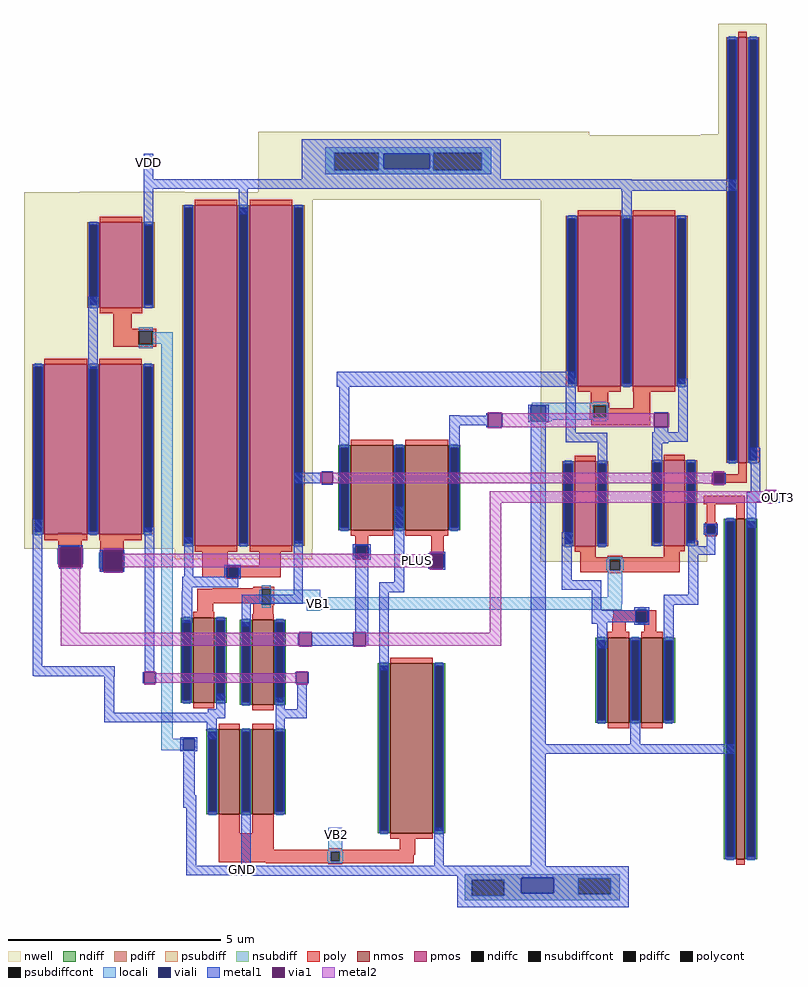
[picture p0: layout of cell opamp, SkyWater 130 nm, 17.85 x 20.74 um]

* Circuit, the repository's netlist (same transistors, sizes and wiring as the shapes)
* SPICE3 file created from opamp.ext - technology: sky130A

*.subckt opamp VDD VB1 GND VB2 PLUS OUT3
X0 m1_n150_n584# a_106_n270# a_2523_355# VSUBS sky130_fd_pr__nfet_01v8 ad=0.58 pd=4.58 as=0.58 ps=4.58 w=2 l=0.5
X1 m1_n666_n548# a_106_n270# a_130_n86# VSUBS sky130_fd_pr__nfet_01v8 ad=1.16 pd=9.16 as=0.58 ps=4.58 w=2 l=0.5
X2 a_2484_258# a_2056_n354# GND VSUBS sky130_fd_pr__nfet_01v8 ad=0.58 pd=4.58 as=0.29 ps=2.29 w=2 l=0.5
X3 GND a_2056_n354# a_2056_n354# VSUBS sky130_fd_pr__nfet_01v8 ad=0.29 pd=2.29 as=0.58 ps=4.58 w=2 l=0.5
X4 a_2484_258# a_106_n270# m1_1290_528# w_1718_n12# sky130_fd_pr__pfet_01v8 ad=0.58 pd=4.58 as=0.58 ps=4.58 w=2 l=0.5
X5 m1_n150_n584# VB2 GND VSUBS sky130_fd_pr__nfet_01v8 ad=1.16 pd=9.16 as=4.64 ps=34.32 w=2 l=0.5
X6 GND VB2 m1_n666_n548# VSUBS sky130_fd_pr__nfet_01v8 ad=0 pd=0 as=0 ps=0 w=2 l=0.5
X7 m1_762_809# a_106_n270# a_2056_n354# w_1718_n12# sky130_fd_pr__pfet_01v8 ad=1.74 pd=13.16 as=0.58 ps=4.58 w=2 l=0.5
X8 OUT3 a_2523_355# VDD w_1718_n12# sky130_fd_pr__pfet_01v8 ad=2.9 pd=20.58 as=2.9 ps=20.58 w=10 l=0.2
X9 m1_960_n522# OUT3 m1_762_809# VSUBS sky130_fd_pr__nfet_01v8 ad=0.29 pd=2.29 as=0.58 ps=4.58 w=2 l=1
X10 m1_1290_528# PLUS m1_960_n522# VSUBS sky130_fd_pr__nfet_01v8 ad=0.58 pd=4.58 as=0.29 ps=2.29 w=2 l=1
X11 OUT3 a_2484_258# GND VSUBS sky130_fd_pr__nfet_01v8 ad=2.32 pd=16.58 as=2.32 ps=16.58 w=8 l=0.2
X12 a_2523_355# a_130_n86# VDD w_n708_50# sky130_fd_pr__pfet_01v8 ad=2.32 pd=16.58 as=1.16 ps=8.29 w=8 l=1
X13 VDD a_130_n86# a_130_n86# w_n708_50# sky130_fd_pr__pfet_01v8 ad=1.16 pd=8.29 as=2.32 ps=16.58 w=8 l=1
X14 VDD GND m1_n406_894# w_n708_50# sky130_fd_pr__pfet_01v8 ad=0.58 pd=4.58 as=0.58 ps=4.58 w=2 l=1
X15 GND VB2 m1_960_n522# VSUBS sky130_fd_pr__nfet_01v8 ad=1.16 pd=8.58 as=1.16 ps=8.58 w=4 l=1
X16 m1_n406_894# OUT3 m1_n666_n548# w_n708_50# sky130_fd_pr__pfet_01v8 ad=0.58 pd=4.29 as=1.16 ps=8.58 w=4 l=1
X17 m1_n150_n584# PLUS m1_n406_894# w_n708_50# sky130_fd_pr__pfet_01v8 ad=1.16 pd=8.58 as=0.58 ps=4.29 w=4 l=1
X18 VDD GND m1_762_809# w_1718_n12# sky130_fd_pr__pfet_01v8 ad=6.96 pd=50.32 as=0 ps=0 w=4 l=1
X19 m1_1290_528# GND VDD w_1718_n12# sky130_fd_pr__pfet_01v8 ad=1.74 pd=13.16 as=0 ps=0 w=4 l=1
*.ends

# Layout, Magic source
magic
tech sky130A
magscale 1 2
<< nwell >>
rect 392 1992 1948 2008
rect 2472 1992 2782 1996
rect -446 1724 46 1726
rect 392 1724 2782 1992
rect -708 1688 2782 1724
rect -708 50 648 1688
rect 1720 449 2782 1688
rect 1720 448 2602 449
rect 2607 448 2782 449
rect 1720 398 2782 448
rect 1718 266 2782 398
rect 1718 116 2502 266
rect 1718 108 2484 116
rect 2488 108 2502 116
rect 1718 -12 2502 108
<< psubdiff >>
rect 1362 -1500 2090 -1480
rect 1362 -1506 1896 -1500
rect 1362 -1580 1396 -1506
rect 1548 -1574 1896 -1506
rect 2048 -1574 2090 -1500
rect 1548 -1580 2090 -1574
rect 1362 -1602 2090 -1580
<< nsubdiff >>
rect 706 1910 1486 1936
rect 706 1828 750 1910
rect 958 1908 1486 1910
rect 958 1828 1214 1908
rect 1442 1828 1486 1908
rect 706 1810 1486 1828
<< psubdiffcont >>
rect 1396 -1580 1548 -1506
rect 1896 -1574 2048 -1500
<< nsubdiffcont >>
rect 750 1828 958 1910
rect 1214 1828 1442 1908
<< poly >>
rect -288 1083 -202 1170
rect -288 1073 -87 1083
rect -288 1007 -169 1073
rect -103 1007 -87 1073
rect -288 997 -87 1007
rect 1956 796 2036 812
rect 1954 734 2036 796
rect 1950 724 2042 734
rect 1950 664 1966 724
rect 2026 710 2042 724
rect 2154 710 2234 810
rect 2026 664 2234 710
rect 1950 654 2234 664
rect 1956 630 2234 654
rect 2523 400 2589 407
rect 2648 400 2688 444
rect 2523 397 2688 400
rect 2523 363 2539 397
rect 2573 363 2688 397
rect 2523 360 2688 363
rect 2523 353 2589 360
rect 2484 258 2678 298
rect 2498 173 2538 258
rect 2638 206 2678 258
rect 2491 157 2545 173
rect -546 49 -436 124
rect -546 -22 -536 49
rect -446 -22 -436 49
rect -546 -38 -436 -22
rect -350 29 -240 104
rect -350 -42 -340 29
rect -250 -42 -240 29
rect -350 -58 -240 -42
rect 130 -26 248 62
rect 130 -32 299 -26
rect 398 -32 498 62
rect 848 54 908 122
rect 848 14 858 54
rect 898 14 908 54
rect 1204 22 1264 128
rect 2491 123 2501 157
rect 2535 123 2545 157
rect 2491 107 2545 123
rect 2296 61 2328 62
rect 848 -2 908 14
rect 1198 12 1270 22
rect 130 -42 498 -32
rect 1198 -28 1214 12
rect 1254 -28 1270 12
rect 1198 -38 1270 -28
rect 1906 9 1978 48
rect 2033 9 2103 15
rect 2296 9 2373 61
rect 1906 -1 2373 9
rect 130 -76 255 -42
rect 289 -76 498 -42
rect 1906 -51 2043 -1
rect 2093 -51 2373 -1
rect 1906 -61 2373 -51
rect 2033 -67 2103 -61
rect 130 -86 498 -76
rect 245 -92 299 -86
rect 368 -136 468 -129
rect 178 -139 468 -136
rect 178 -140 408 -139
rect 106 -206 408 -140
rect 106 -270 182 -206
rect 368 -213 408 -206
rect 452 -213 468 -139
rect 368 -216 468 -213
rect 368 -280 462 -216
rect 2060 -249 2263 -239
rect 2060 -278 2175 -249
rect 2056 -287 2175 -278
rect 2213 -287 2263 -249
rect 2056 -297 2263 -287
rect 2056 -354 2118 -297
rect 2060 -368 2118 -354
rect 2205 -365 2263 -297
rect 206 -1288 306 -1208
rect 364 -1288 464 -1204
rect 206 -1364 464 -1288
rect 1058 -1292 1122 -1288
rect 722 -1364 786 -1358
rect 1058 -1364 1130 -1292
rect 206 -1374 1130 -1364
rect 206 -1418 732 -1374
rect 776 -1388 1130 -1374
rect 776 -1418 1122 -1388
rect 206 -1424 1122 -1418
rect 428 -1428 1122 -1424
rect 722 -1434 786 -1428
<< polycont >>
rect -169 1007 -103 1073
rect 1966 664 2026 724
rect 2539 363 2573 397
rect -536 -22 -446 49
rect -340 -42 -250 29
rect 858 14 898 54
rect 2501 123 2535 157
rect 1214 -28 1254 12
rect 255 -76 289 -42
rect 2043 -51 2093 -1
rect 408 -213 452 -139
rect 2175 -287 2213 -249
rect 732 -1418 776 -1374
<< locali >>
rect 706 1910 1486 1934
rect 706 1828 750 1910
rect 958 1908 1486 1910
rect 958 1904 1214 1908
rect 958 1834 982 1904
rect 1198 1834 1214 1904
rect 958 1828 1214 1834
rect 1442 1828 1486 1908
rect 706 1808 1486 1828
rect -169 1073 -103 1089
rect -103 1013 -9 1067
rect -169 991 -103 1007
rect -552 -22 -536 49
rect -445 -22 -430 49
rect -356 -42 -340 29
rect -249 -42 -234 29
rect -63 -843 -9 1013
rect 1966 734 2026 740
rect 1676 724 2036 734
rect 1676 720 1966 724
rect 1744 664 1966 720
rect 2026 664 2036 724
rect 1744 654 2036 664
rect 1744 648 1772 654
rect 1966 648 2026 654
rect 2539 400 2573 413
rect 2539 347 2573 360
rect 2485 123 2498 157
rect 2538 123 2551 157
rect 842 14 848 54
rect 908 14 914 54
rect 1214 22 1254 28
rect 2033 -1 2103 9
rect 239 -76 245 -42
rect 299 -76 305 -42
rect 1214 -44 1254 -38
rect 2027 -51 2043 -1
rect 2093 -51 2109 -1
rect 408 -139 452 -123
rect 398 -208 408 -144
rect 452 -180 684 -144
rect 2033 -180 2103 -51
rect 452 -208 2103 -180
rect 408 -229 452 -213
rect 620 -209 2103 -208
rect 620 -238 2100 -209
rect 620 -242 684 -238
rect 2175 -239 2213 -233
rect 2175 -303 2213 -297
rect -63 -897 39 -843
rect 722 -1374 786 -1262
rect 716 -1418 732 -1374
rect 776 -1418 792 -1374
rect 722 -1428 786 -1418
rect 1362 -1496 2090 -1480
rect 1362 -1506 1628 -1496
rect 1362 -1580 1396 -1506
rect 1548 -1570 1628 -1506
rect 1780 -1500 2090 -1496
rect 1780 -1570 1896 -1500
rect 1548 -1574 1896 -1570
rect 2048 -1574 2090 -1500
rect 1548 -1580 2090 -1574
rect 1362 -1602 2090 -1580
<< viali >>
rect 982 1834 1198 1904
rect -536 49 -445 59
rect -536 -22 -446 49
rect -446 -22 -445 49
rect -340 29 -249 39
rect -536 -32 -445 -22
rect -340 -42 -250 29
rect -250 -42 -249 29
rect -340 -52 -249 -42
rect 1672 648 1744 720
rect 2536 397 2576 400
rect 2536 363 2539 397
rect 2539 363 2573 397
rect 2573 363 2576 397
rect 2536 360 2576 363
rect 2498 157 2538 160
rect 2498 123 2501 157
rect 2501 123 2535 157
rect 2535 123 2538 157
rect 2498 120 2538 123
rect 848 54 908 64
rect 848 14 858 54
rect 858 14 898 54
rect 898 14 908 54
rect 848 4 908 14
rect 1204 12 1264 22
rect 1204 -28 1214 12
rect 1214 -28 1254 12
rect 1254 -28 1264 12
rect 245 -42 299 -32
rect 1204 -38 1264 -28
rect 245 -76 255 -42
rect 255 -76 289 -42
rect 289 -76 299 -42
rect 245 -86 299 -76
rect 2165 -249 2223 -239
rect 2165 -287 2175 -249
rect 2175 -287 2213 -249
rect 2213 -287 2223 -249
rect 2165 -297 2223 -287
rect 39 -897 93 -843
rect 1628 -1570 1780 -1496
<< metal1 >>
rect 596 1904 1532 1972
rect -146 1784 -102 1904
rect 596 1834 982 1904
rect 1198 1834 1532 1904
rect 596 1784 1532 1834
rect -146 1783 2146 1784
rect -146 1740 2640 1783
rect -146 1566 -102 1740
rect 300 1620 344 1740
rect 2097 1730 2640 1740
rect 2100 1600 2146 1730
rect -406 894 -362 1232
rect 762 851 1877 880
rect 762 809 1883 851
rect 774 526 820 809
rect 1660 720 1756 726
rect 1290 674 1340 677
rect 1464 674 1470 685
rect 1290 630 1470 674
rect 1290 528 1340 630
rect 1464 620 1470 630
rect 1535 620 1541 685
rect 1660 648 1672 720
rect 1744 648 1756 720
rect 1660 642 1756 648
rect 690 408 742 414
rect 565 357 690 407
rect 690 350 742 356
rect -666 -503 -622 184
rect -548 59 -433 65
rect -548 53 -536 59
rect -445 53 -433 59
rect -548 -38 -542 53
rect -439 -38 -433 53
rect -352 39 -334 45
rect -542 -44 -439 -38
rect -352 -52 -340 39
rect -352 -58 -334 -52
rect -243 -58 -237 45
rect -666 -548 -282 -503
rect -140 -532 -96 148
rect 44 -82 88 102
rect 36 -83 88 -82
rect 233 -32 311 -26
rect 233 -83 245 -32
rect 36 -86 245 -83
rect 299 -86 311 -32
rect 36 -92 311 -86
rect 36 -132 299 -92
rect 36 -148 83 -132
rect 34 -298 83 -148
rect 558 -166 602 86
rect 836 64 920 70
rect 836 4 848 64
rect 908 4 920 64
rect 836 -2 920 4
rect 314 -210 602 -166
rect 314 -316 358 -210
rect 848 -346 908 -2
rect 1031 -109 1077 247
rect 1198 28 1270 34
rect 1192 -44 1198 28
rect 1258 22 1270 28
rect 1264 -38 1270 22
rect 1258 -44 1270 -38
rect 1198 -50 1270 -44
rect 578 -406 584 -346
rect 644 -406 838 -346
rect 898 -406 908 -346
rect 960 -155 1077 -109
rect 960 -522 1006 -155
rect -663 -549 -282 -548
rect -331 -721 -285 -549
rect -150 -584 -144 -532
rect -92 -584 -86 -532
rect 566 -584 572 -532
rect 624 -584 630 -532
rect 196 -705 238 -632
rect 155 -721 238 -705
rect -331 -747 238 -721
rect 474 -704 516 -652
rect 576 -704 620 -584
rect -331 -767 197 -747
rect 151 -805 197 -767
rect 474 -748 620 -704
rect 474 -798 516 -748
rect 27 -843 105 -837
rect 27 -897 39 -843
rect 93 -897 105 -843
rect 155 -847 197 -805
rect 27 -903 105 -897
rect 1672 -869 1744 642
rect 1837 595 1883 809
rect 2253 685 2318 691
rect 2253 597 2318 620
rect 2365 597 2411 847
rect 1837 549 2032 595
rect 1986 450 2032 549
rect 2244 551 2411 597
rect 2244 544 2318 551
rect 2244 462 2290 544
rect 2530 406 2582 412
rect 2524 354 2530 406
rect 2582 354 2588 406
rect 2530 348 2582 354
rect 2705 320 2751 523
rect 2705 319 2788 320
rect 2705 315 2772 319
rect 2686 269 2772 315
rect 2486 160 2550 166
rect 1819 -98 1865 127
rect 2486 120 2498 160
rect 2538 120 2550 160
rect 2686 148 2732 269
rect 2766 266 2772 269
rect 2825 266 2862 319
rect 2486 116 2550 120
rect 2488 114 2550 116
rect 2413 60 2459 87
rect 2498 60 2538 114
rect 2413 20 2538 60
rect 1819 -144 2004 -98
rect 1958 -239 2004 -144
rect 2413 -167 2459 20
rect 2298 -213 2459 -167
rect 2159 -239 2229 -227
rect 1958 -297 2165 -239
rect 2223 -297 2229 -239
rect 1958 -303 2031 -297
rect 1985 -419 2031 -303
rect 2159 -309 2229 -297
rect 2298 -384 2344 -213
rect 2140 -869 2186 -756
rect 39 -1110 93 -903
rect 1672 -915 2625 -869
rect 39 -1167 101 -1110
rect 55 -1439 101 -1167
rect 312 -1439 358 -1194
rect 55 -1440 358 -1439
rect 1218 -1440 1264 -1262
rect 1672 -1440 1744 -915
rect 55 -1442 1744 -1440
rect 55 -1485 2132 -1442
rect 312 -1486 2132 -1485
rect 1326 -1496 2132 -1486
rect 1326 -1570 1628 -1496
rect 1780 -1570 2132 -1496
rect 1326 -1634 2132 -1570
<< via1 >>
rect 1470 620 1535 685
rect 690 356 742 408
rect -542 -32 -536 53
rect -536 -32 -445 53
rect -445 -32 -439 53
rect -542 -38 -439 -32
rect -334 39 -243 45
rect -334 -52 -249 39
rect -249 -52 -243 39
rect -334 -58 -243 -52
rect 1198 22 1258 28
rect 1198 -38 1204 22
rect 1204 -38 1258 22
rect 1198 -44 1258 -38
rect 584 -406 644 -346
rect 838 -406 898 -346
rect -144 -584 -92 -532
rect 572 -584 624 -532
rect 2253 620 2318 685
rect 2530 400 2582 406
rect 2530 360 2536 400
rect 2536 360 2576 400
rect 2576 360 2582 400
rect 2530 354 2582 360
rect 2772 266 2825 319
<< metal2 >>
rect 1470 685 1535 691
rect 1535 620 2253 685
rect 2318 620 2324 685
rect 1470 614 1535 620
rect 684 356 690 408
rect 742 407 748 408
rect 742 405 2482 407
rect 2530 406 2582 412
rect 742 357 2530 405
rect 742 356 748 357
rect 2482 355 2530 357
rect 2530 348 2582 354
rect 2772 319 2825 325
rect 1480 266 2772 319
rect -548 -38 -542 53
rect -439 -38 -433 53
rect -334 45 -243 51
rect -535 -346 -444 -38
rect 1198 28 1258 34
rect -243 22 912 25
rect -243 -37 1198 22
rect 872 -38 1198 -37
rect 1198 -50 1258 -44
rect -334 -64 -243 -58
rect 584 -346 644 -340
rect -535 -406 584 -346
rect -535 -407 -444 -406
rect 584 -412 644 -406
rect 838 -346 898 -340
rect 1480 -346 1533 266
rect 2772 260 2825 266
rect 898 -406 1533 -346
rect 838 -412 898 -406
rect -144 -532 -92 -526
rect 572 -532 624 -526
rect -92 -580 572 -536
rect -144 -590 -92 -584
rect 572 -590 624 -584
use sky130_fd_pr__nfet_01v8_42C9PJ  sky130_fd_pr__nfet_01v8_42C9PJ_0
transform 1 0 2163 0 1 -568
box -187 -226 187 226
use sky130_fd_pr__nfet_01v8_42C9PJ  sky130_fd_pr__nfet_01v8_42C9PJ_1
transform 1 0 335 0 1 -998
box -187 -226 187 226
use sky130_fd_pr__nfet_01v8_C5U7X2  sky130_fd_pr__nfet_01v8_C5U7X2_0
transform 1 0 2658 0 1 -610
box -78 -826 78 826
use sky130_fd_pr__nfet_01v8_SAC9P4  sky130_fd_pr__nfet_01v8_SAC9P4_0
transform 1 0 414 0 1 -484
box -108 -226 108 226
use sky130_fd_pr__nfet_01v8_SAC9P4  sky130_fd_pr__nfet_01v8_SAC9P4_1
transform 1 0 136 0 1 -474
box -108 -226 108 226
use sky130_fd_pr__nfet_01v8_SLJEK5  sky130_fd_pr__nfet_01v8_SLJEK5_0
transform 1 0 1112 0 1 -888
box -158 -426 158 426
use sky130_fd_pr__nfet_01v8_VYPHSS  sky130_fd_pr__nfet_01v8_VYPHSS_0
transform 1 0 1055 0 1 336
box -287 -226 287 226
use sky130_fd_pr__pfet_01v8_7Q88LS  sky130_fd_pr__pfet_01v8_7Q88LS_0
transform 1 0 -383 0 1 516
box -323 -462 323 462
use sky130_fd_pr__pfet_01v8_7Q88LS  sky130_fd_pr__pfet_01v8_7Q88LS_1
transform 1 0 2123 0 1 1212
box -323 -462 323 462
use sky130_fd_pr__pfet_01v8_9Q4LM2  sky130_fd_pr__pfet_01v8_9Q4LM2_0
transform 1 0 -252 0 1 1382
box -194 -262 194 262
use sky130_fd_pr__pfet_01v8_EE9SH3  sky130_fd_pr__pfet_01v8_EE9SH3_0
transform 1 0 2668 0 1 1452
box -114 -1062 114 1062
use sky130_fd_pr__pfet_01v8_SK88LG  sky130_fd_pr__pfet_01v8_SK88LG_0
transform 1 0 323 0 1 862
box -323 -862 323 862
use sky130_fd_pr__pfet_01v8_W7GQZ7  sky130_fd_pr__pfet_01v8_W7GQZ7_0
transform 1 0 2346 0 1 264
box -144 -262 144 262
use sky130_fd_pr__pfet_01v8_W7GQZ7  sky130_fd_pr__pfet_01v8_W7GQZ7_1
transform 1 0 1928 0 1 260
box -144 -262 144 262
<< labels >>
flabel metal1 s -124 1864 -124 1864 0 FreeSans 800 0 0 0 VDD
port 1 nsew
flabel metal1 s 318 -1458 318 -1458 0 FreeSans 800 0 0 0 GND
port 3 nsew
flabel locali s 760 -1294 760 -1294 0 FreeSans 800 0 0 0 VB2
port 4 nsew
flabel metal2 s 1140 -6 1140 -6 0 FreeSans 800 0 0 0 PLUS
port 5 nsew
flabel metal1 s 2836 288 2836 288 0 FreeSans 800 0 0 0 OUT3
port 6 nsew
flabel locali s 674 -208 674 -208 1 FreeSans 1600 0 0 0 VB1
port 7 n
<< end >>

# cell sky130_fd_pr__nfet_01v8_42C9PJ: kit device sky130_fd_pr__nfet_01v8, w 2 l 0.5 m 1 nf 2 diffcov 100 polycov 100 guard 0 glc 1 grc 1 gtc 1 gbc 1 tbcov 100 rlcov 100 topc 0 botc 0 poverlap 0 doverlap 1 lmin 0.15 wmin 0.42 compatible {sky130_fd_pr__nfet_01v8 sky130_fd_pr__nfet_01v8_lvt sky130_fd_bs_flash__special_sonosfet_star sky130_fd_pr__nfet_g5v0d10v5 sky130_fd_pr__nfet_05v0_nvt sky130_fd_pr__nfet_03v3_nvt} full_metal 1 viasrc 100 viadrn 100 viagate 100 viagb 0 viagr 0 viagl 0 viagt 0

# cell sky130_fd_pr__nfet_01v8_C5U7X2: kit device sky130_fd_pr__nfet_01v8, w 8 l 0.2 m 1 nf 1 diffcov 100 polycov 100 guard 0 glc 1 grc 1 gtc 1 gbc 1 tbcov 100 rlcov 100 topc 0 botc 0 poverlap 0 doverlap 1 lmin 0.15 wmin 0.42 compatible {sky130_fd_pr__nfet_01v8 sky130_fd_pr__nfet_01v8_lvt sky130_fd_bs_flash__special_sonosfet_star sky130_fd_pr__nfet_g5v0d10v5 sky130_fd_pr__nfet_05v0_nvt sky130_fd_pr__nfet_03v3_nvt} full_metal 1 viasrc 100 viadrn 100 viagate 100 viagb 0 viagr 0 viagl 0 viagt 0

# cell sky130_fd_pr__nfet_01v8_SAC9P4: kit device sky130_fd_pr__nfet_01v8, w 2 l 0.5 m 1 nf 1 diffcov 100 polycov 100 guard 0 glc 1 grc 1 gtc 1 gbc 1 tbcov 100 rlcov 100 topc 0 botc 0 poverlap 0 doverlap 1 lmin 0.15 wmin 0.42 compatible {sky130_fd_pr__nfet_01v8 sky130_fd_pr__nfet_01v8_lvt sky130_fd_bs_flash__special_sonosfet_star sky130_fd_pr__nfet_g5v0d10v5 sky130_fd_pr__nfet_05v0_nvt sky130_fd_pr__nfet_03v3_nvt} full_metal 1 viasrc 100 viadrn 100 viagate 100 viagb 0 viagr 0 viagl 0 viagt 0

# cell sky130_fd_pr__nfet_01v8_SLJEK5: kit device sky130_fd_pr__nfet_01v8, w 4 l 1 m 1 nf 1 diffcov 100 polycov 100 guard 0 glc 1 grc 1 gtc 1 gbc 1 tbcov 100 rlcov 100 topc 0 botc 0 poverlap 0 doverlap 1 lmin 0.15 wmin 0.42 compatible {sky130_fd_pr__nfet_01v8 sky130_fd_pr__nfet_01v8_lvt sky130_fd_bs_flash__special_sonosfet_star sky130_fd_pr__nfet_g5v0d10v5 sky130_fd_pr__nfet_05v0_nvt sky130_fd_pr__nfet_03v3_nvt} full_metal 1 viasrc 100 viadrn 100 viagate 100 viagb 0 viagr 0 viagl 0 viagt 0

# cell sky130_fd_pr__nfet_01v8_VYPHSS: kit device sky130_fd_pr__nfet_01v8, w 2 l 1 m 1 nf 2 diffcov 100 polycov 100 guard 0 glc 1 grc 1 gtc 1 gbc 1 tbcov 100 rlcov 100 topc 0 botc 0 poverlap 0 doverlap 1 lmin 0.15 wmin 0.42 compatible {sky130_fd_pr__nfet_01v8 sky130_fd_pr__nfet_01v8_lvt sky130_fd_bs_flash__special_sonosfet_star sky130_fd_pr__nfet_g5v0d10v5 sky130_fd_pr__nfet_05v0_nvt sky130_fd_pr__nfet_03v3_nvt} full_metal 1 viasrc 100 viadrn 100 viagate 100 viagb 0 viagr 0 viagl 0 viagt 0

# cell sky130_fd_pr__pfet_01v8_7Q88LS: kit device sky130_fd_pr__pfet_01v8, w 4 l 1 m 1 nf 2 diffcov 100 polycov 100 guard 0 glc 1 grc 1 gtc 1 gbc 1 tbcov 100 rlcov 100 topc 0 botc 0 poverlap 0 doverlap 1 lmin 0.15 wmin 0.42 compatible {sky130_fd_pr__pfet_01v8 sky130_fd_pr__pfet_01v8_lvt sky130_fd_pr__pfet_01v8_hvt sky130_fd_pr__pfet_g5v0d10v5} full_metal 1 viasrc 100 viadrn 100 viagate 100 viagb 0 viagr 0 viagl 0 viagt 0

# cell sky130_fd_pr__pfet_01v8_9Q4LM2: kit device sky130_fd_pr__pfet_01v8, w 2 l 1 m 1 nf 1 diffcov 100 polycov 100 guard 0 glc 1 grc 1 gtc 1 gbc 1 tbcov 100 rlcov 100 topc 0 botc 0 poverlap 0 doverlap 1 lmin 0.15 wmin 0.42 compatible {sky130_fd_pr__pfet_01v8 sky130_fd_pr__pfet_01v8_lvt sky130_fd_pr__pfet_01v8_hvt sky130_fd_pr__pfet_g5v0d10v5} full_metal 1 viasrc 100 viadrn 100 viagate 100 viagb 0 viagr 0 viagl 0 viagt 0

# cell sky130_fd_pr__pfet_01v8_EE9SH3: kit device sky130_fd_pr__pfet_01v8, w 10 l 0.2 m 1 nf 1 diffcov 100 polycov 100 guard 0 glc 1 grc 1 gtc 1 gbc 1 tbcov 100 rlcov 100 topc 0 botc 0 poverlap 0 doverlap 1 lmin 0.15 wmin 0.42 compatible {sky130_fd_pr__pfet_01v8 sky130_fd_pr__pfet_01v8_lvt sky130_fd_pr__pfet_01v8_hvt sky130_fd_pr__pfet_g5v0d10v5} full_metal 1 viasrc 100 viadrn 100 viagate 100 viagb 0 viagr 0 viagl 0 viagt 0

# cell sky130_fd_pr__pfet_01v8_SK88LG: kit device sky130_fd_pr__pfet_01v8, w 8 l 1 m 1 nf 2 diffcov 100 polycov 100 guard 0 glc 1 grc 1 gtc 1 gbc 1 tbcov 100 rlcov 100 topc 0 botc 0 poverlap 0 doverlap 1 lmin 0.15 wmin 0.42 compatible {sky130_fd_pr__pfet_01v8 sky130_fd_pr__pfet_01v8_lvt sky130_fd_pr__pfet_01v8_hvt sky130_fd_pr__pfet_g5v0d10v5} full_metal 1 viasrc 100 viadrn 100 viagate 100 viagb 0 viagr 0 viagl 0 viagt 0

# cell sky130_fd_pr__pfet_01v8_W7GQZ7: kit device sky130_fd_pr__pfet_01v8, w 2 l 0.5 m 1 nf 1 diffcov 100 polycov 100 guard 0 glc 1 grc 1 gtc 1 gbc 1 tbcov 100 rlcov 100 topc 0 botc 0 poverlap 0 doverlap 1 lmin 0.15 wmin 0.42 compatible {sky130_fd_pr__pfet_01v8 sky130_fd_pr__pfet_01v8_lvt sky130_fd_pr__pfet_01v8_hvt sky130_fd_pr__pfet_g5v0d10v5} full_metal 1 viasrc 100 viadrn 100 viagate 100 viagb 0 viagr 0 viagl 0 viagt 0
